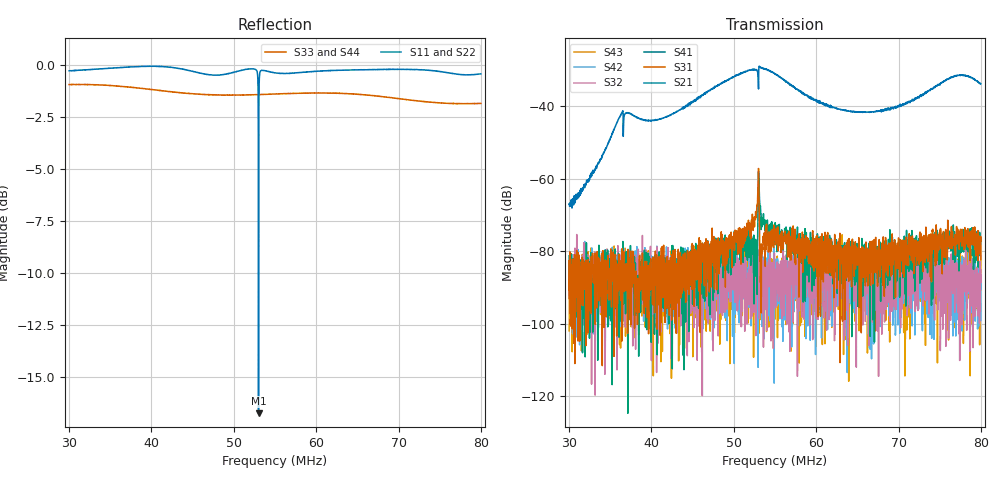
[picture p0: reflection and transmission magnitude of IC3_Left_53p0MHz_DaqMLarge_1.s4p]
#  HZ  S  DB  R  50.00
! Rohde & Schwarz Vector Network Analyzer
! Rohde-Schwarz,ZNB8-4Port,1311601044102961,2.82
! Created: UTC 2/12/2019, 11:43:12 AM
! freq[Hz]  db:S11  ang:S11  db:S12  ang:S12  db:S13  ang:S13  db:S14  ang:S14
!  db:S21  ang:S21  db:S22  ang:S22  db:S23  ang:S23  db:S24  ang:S24
!  db:S31  ang:S31  db:S32  ang:S32  db:S33  ang:S33  db:S34  ang:S34
!  db:S41  ang:S41  db:S42  ang:S42  db:S43  ang:S43  db:S44  ang:S44
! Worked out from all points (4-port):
!   2001 points, 30 MHz to 80 MHz, reference 50 ohm
!   strongest paths, dB at 30 MHz, 42.5 MHz, 55 MHz, 67.5 MHz, 80 MHz:
!     S21: -67.0, -42.1, -31.1, -41.4, -33.8
!     S31: -93.0, -80.8, -77.0, -80.2, -82.1
!     S41: -81.2, -86.3, -74.7, -83.6, -77.2
!     S32: -92.2, -90.6, -84.8, -99.9, -86.5
!     S42: -89.4, -90.0, -94.2, -91.0, -99.0
!     S43: -101.9, -88.5, -85.0, -86.6, -81.9
!   lowest |S11| = -16.8 dB at 53 MHz (marker M1), VSWR 1.34, Z = 38.8 - j6.52 ohm
!   |S11| at or under -10 dB: 52.98741 MHz to 53.01467 MHz (27.25 kHz wide, 0.0514 % of centre)
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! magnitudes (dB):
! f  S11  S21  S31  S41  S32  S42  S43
! 30 MHz  -0.3  -67.0  -93.0  -81.2  -92.2  -89.4  -101.9
! 36.3 MHz  -0.1  -42.3  -83.4  -82.9  -88.9  -100.7  -84.9
! 52.62 MHz  -0.2  -29.9  -71.2  -85.3  -96.4  -86.0  -93.7
! 53 MHz  -16.8  -35.2  -57.1  -58.0  -89.2  -87.8  -84.8
! 53.4 MHz  -0.2  -29.3  -79.3  -71.4  -84.8  -88.9  -96.2
! 64.9 MHz  -0.2  -41.6  -78.9  -80.5  -87.5  -92.8  -90.3
! 80 MHz  -0.4  -33.8  -82.1  -77.2  -86.5  -99.0  -81.9
